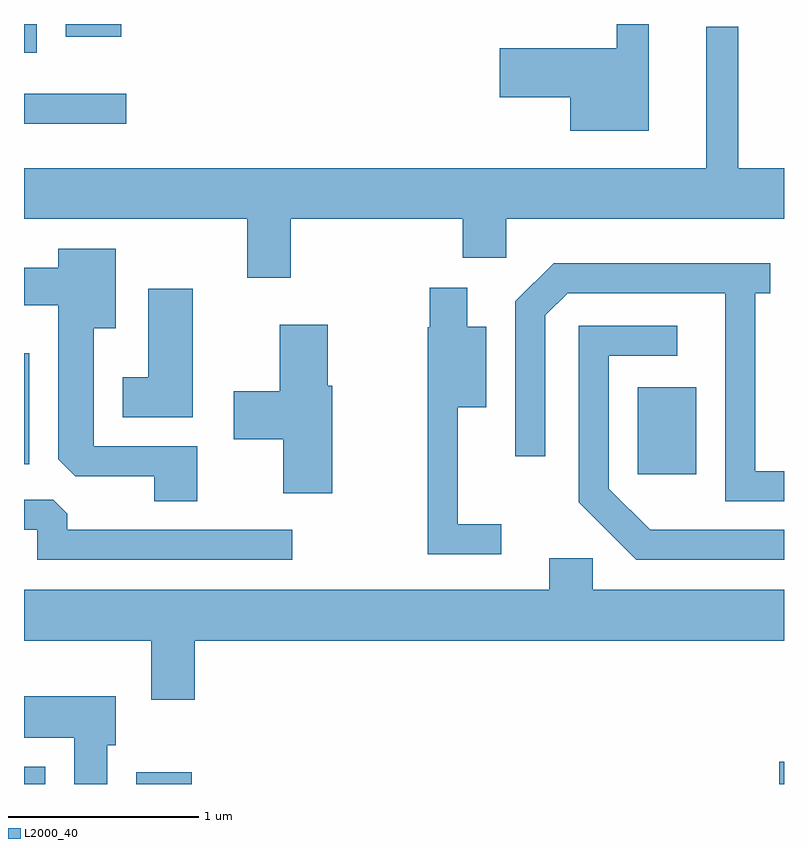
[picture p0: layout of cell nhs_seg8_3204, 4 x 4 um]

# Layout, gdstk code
import gdstk
lib = gdstk.Library(unit=1e-6, precision=1e-09)
def R(c, l, rs):  # rectangles x0, y0, x1, y1
    for r in rs: c.add(gdstk.rectangle(r[:2], r[2:], *l))
def P(c, l, *ps):  # polygons
    for p in ps: c.add(gdstk.Polygon(p, *l))
L2000_40 = (2000, 40)

nhs_seg8_3204 = lib.new_cell('nhs_seg8_3204')
R(nhs_seg8_3204, L2000_40, [(281.611,1822.342,281.724,1822.434), (282.201,1822.342,282.494,1822.404), (285.586,1822.342,285.611,1822.459), (284.841,1823.971,285.149,1824.429), (281.611,1824.026,281.639,1824.609), (281.611,1825.816,282.148,1825.974), (281.611,1826.191,281.679,1826.342), (281.831,1826.276,282.124,1826.342)])
P(nhs_seg8_3204, L2000_40, [(284.899,1826.342),(284.731,1826.342),(284.731,1826.214),(284.116,1826.214),(284.116,1825.956),(284.486,1825.956),(284.486,1825.781),(284.899,1825.781)],
  [(283.014,1825.316),(283.921,1825.316),(283.921,1825.111),(284.149,1825.111),(284.149,1825.316),(285.611,1825.316),(285.611,1825.584),(285.369,1825.584),(285.369,1826.328),(285.201,1826.328),(285.201,1825.584),(281.611,1825.584),(281.611,1825.316),(282.786,1825.316),(282.786,1825.006),(283.014,1825.006)],
  [(282.524,1824.119),(281.979,1824.119),(281.979,1824.741),(282.094,1824.741),(282.094,1825.159),(281.791,1825.159),(281.791,1825.059),(281.611,1825.059),(281.611,1824.861),(281.791,1824.861),(281.791,1824.052),(281.882,1823.961),(282.296,1823.961),(282.296,1823.831),(282.524,1823.831)],
  [(285.611,1823.989),(285.459,1823.989),(285.459,1824.926),(285.538,1824.926),(285.538,1825.084),(284.399,1825.084),(284.196,1824.882),(284.196,1824.068),(284.354,1824.068),(284.354,1824.809),(284.472,1824.926),(285.301,1824.926),(285.301,1823.831),(285.611,1823.831)],
  [(284.123,1823.709),(283.894,1823.709),(283.894,1824.326),(284.044,1824.326),(284.044,1824.749),(283.944,1824.749),(283.944,1824.954),(283.746,1824.954),(283.746,1824.745),(283.736,1824.745),(283.736,1823.551),(284.123,1823.551)],
  [(282.499,1824.949),(282.266,1824.949),(282.266,1824.484),(282.131,1824.484),(282.131,1824.271),(282.499,1824.271)],
  [(283.234,1824.439),(283.209,1824.439),(283.209,1824.759),(282.956,1824.759),(282.956,1824.409),(282.716,1824.409),(282.716,1824.156),(282.976,1824.156),(282.976,1823.871),(283.234,1823.871)],
  [(285.611,1823.679),(284.907,1823.679),(284.689,1823.897),(284.689,1824.596),(285.048,1824.596),(285.048,1824.754),(284.531,1824.754),(284.531,1823.824),(284.834,1823.521),(285.611,1823.521)],
  [(283.023,1823.679),(281.839,1823.679),(281.839,1823.764),(281.764,1823.839),(281.611,1823.839),(281.611,1823.681),(281.681,1823.681),(281.681,1823.521),(283.023,1823.521)],
  [(282.509,1823.096),(285.611,1823.096),(285.611,1823.364),(284.604,1823.364),(284.604,1823.529),(284.376,1823.529),(284.376,1823.364),(281.611,1823.364),(281.611,1823.096),(282.281,1823.096),(282.281,1822.786),(282.509,1822.786)],
  [(282.049,1822.546),(282.094,1822.546),(282.094,1822.804),(281.611,1822.804),(281.611,1822.586),(281.876,1822.586),(281.876,1822.342),(282.049,1822.342)])

lib.write_gds('nhs_seg8_3204.gds')
